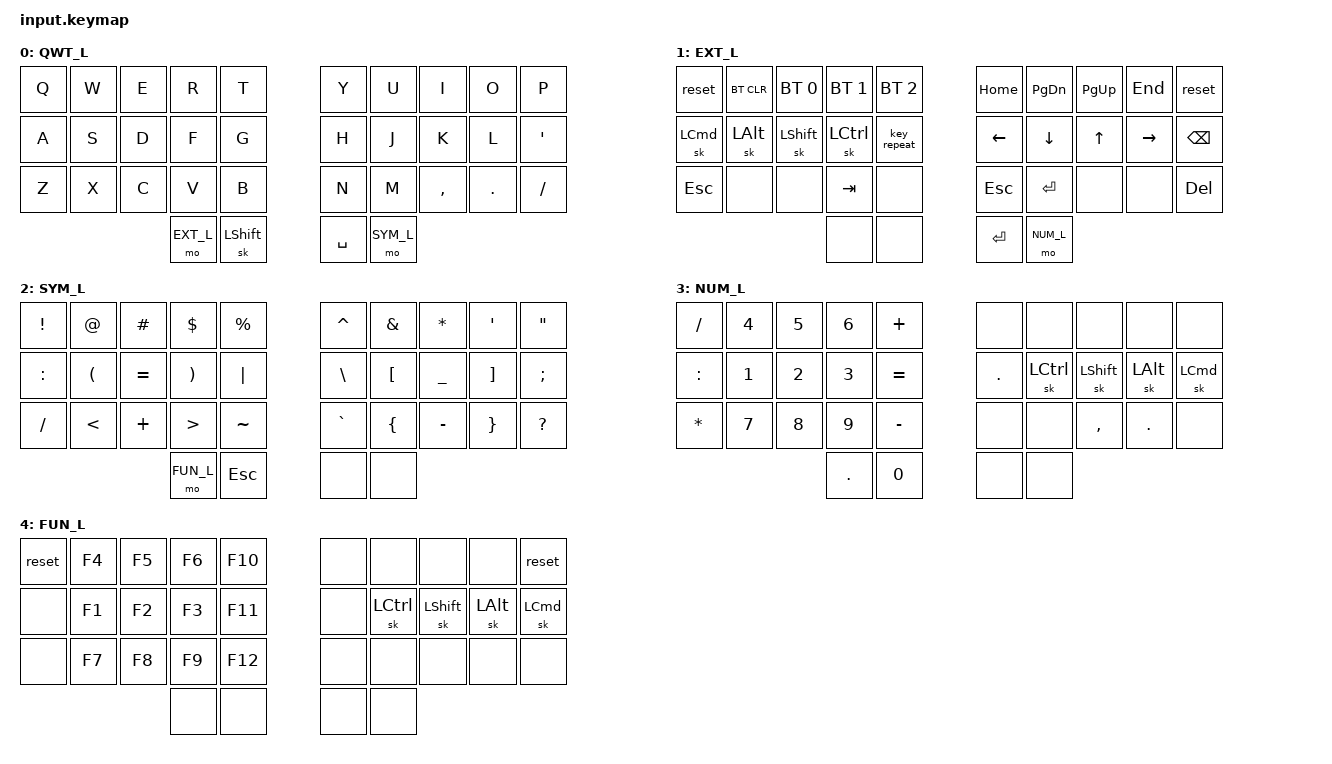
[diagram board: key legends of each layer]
/*
 * Copyright (c) 2020 The ZMK Contributors
 *
 * SPDX-License-Identifier: MIT
 */

#include <behaviors.dtsi>
#include <dt-bindings/zmk/keys.h>
#include <dt-bindings/zmk/bt.h>

/* Layers */
#define QWT_L 0
#define EXT_L 1
#define SYM_L 2
#define NUM_L 3
#define FUN_L 4

/ {

    combos {
        compatible = "zmk,combos";

    // shortcut
    #define COMBO(NAME, BINDINGS, KEYPOS, LAYERS, TIMEOUT) \
          combo_##NAME { \
            timeout-ms = <TIMEOUT>; \
            bindings = <BINDINGS>; \
            key-positions = <KEYPOS>; \
            layers = <LAYERS>; \
          };

        /*                KEY POSITIONS

          ╭────────────────────╮ ╭────────────────────╮
          │  0   1   2   3   4 │ │  5   6   7   8   9 │
          │ 10  11  12  13  14 │ │ 15  16  17  18  19 │
          │ 20  21  22  23  24 │ │ 25  26  27  28  29 │
          ╰───────────╮ 30  31 │ │ 32  33 ╭───────────╯
                      ╰────────╯ ╰────────╯
        */

        //COMBO(qwerty, &to 5, 10 11 12 13, 0, 50)
    };

    keymap {
        compatible = "zmk,keymap";

    /*
    bindings = <
    &none        &none        &none        &none        &none        &none        &none        &none        &none        &none
    &none        &none        &none        &none        &none        &none        &none        &none        &none        &none
    &none        &none        &none        &none        &none        &none        &none        &none        &none        &none
                                           &none        &none        &none        &none
    >;


    CMK_L {
    bindings = <
    &kp Q        &kp W        &kp F        &kp P        &kp B        &kp J        &kp L        &kp U        &kp Y        &kp APOS
    &kp A        &kp R        &kp S        &kp T        &kp G        &kp M        &kp N        &kp E        &kp I        &kp O
    &kp Z        &kp X        &kp C        &kp D        &kp V        &kp K        &kp H        &kp COMMA    &kp DOT      &kp FSLH
                                           &mo EXT_L    &sk LSHFT    &kp SPACE    &mo SYM_L
    >;
    };
    */

    QWT_L {
    bindings = <
    &kp Q        &kp W        &kp E        &kp R        &kp T        &kp Y        &kp U        &kp I        &kp O        &kp P
    &kp A        &kp S        &kp D        &kp F        &kp G        &kp H        &kp J        &kp K        &kp L        &kp APOS
    &kp Z        &kp X        &kp C        &kp V        &kp B        &kp N        &kp M        &kp COMMA    &kp DOT      &kp FSLH
                                           &mo EXT_L    &sk LSHFT    &kp SPACE    &mo SYM_L
    >;
    };

    EXT_L {
    bindings = <
    &reset       &bt BT_CLR   &bt BT_SEL 0 &bt BT_SEL 1 &bt BT_SEL 2 &kp HOME     &kp PG_DN    &kp PG_UP    &kp END      &reset
    &sk LCMD     &sk LALT     &sk LSHFT    &sk LCTL     &key_repeat  &kp LEFT     &kp DOWN     &kp UP       &kp RIGHT    &kp BSPC
    &kp ESC      &none        &none        &kp TAB      &none        &kp ESC      &kp RET      &none        &none        &kp DEL
                                           &none        &none        &kp RET      &mo NUM_L
    >;
    };

    SYM_L {
    bindings = <
    &kp EXCL     &kp AT       &kp POUND    &kp DLLR     &kp PRCNT    &kp CARET    &kp AMPS     &kp STAR     &kp APOS     &kp DQT
    &kp COLON    &kp LPAR     &kp EQUAL    &kp RPAR     &kp PIPE     &kp BSLH     &kp LBKT     &kp UNDER    &kp RBKT     &kp SEMI
    &kp FSLH     &kp LT       &kp PLUS     &kp GT       &kp TILDE    &kp GRAVE    &kp LBRC     &kp MINUS    &kp RBRC     &kp QMARK
                                           &mo FUN_L    &kp ESC      &none        &none
    >;
    };

    NUM_L {
    bindings = <
    &kp FSLH     &kp N4       &kp N5       &kp N6       &kp PLUS     &none        &none        &none        &none        &none
    &kp COLON    &kp N1       &kp N2       &kp N3       &kp EQUAL    &kp DOT      &sk LCTL     &sk LSHFT    &sk LALT     &sk LCMD
    &kp STAR     &kp N7       &kp N8       &kp N9       &kp MINUS    &none        &none        &kp COMMA    &kp DOT      &none
                                           &kp DOT      &kp N0       &none        &none
    >;
    };

    FUN_L {
    bindings = <
    &reset       &kp F4       &kp F5       &kp F6       &kp F10      &none        &none        &none        &none        &reset
    &none        &kp F1       &kp F2       &kp F3       &kp F11      &none        &sk LCTL     &sk LSHFT    &sk LALT     &sk LCMD
    &none        &kp F7       &kp F8       &kp F9       &kp F12      &none        &none        &none        &none        &none
                                           &none        &none        &none        &none
    >;
    };

    };
};
